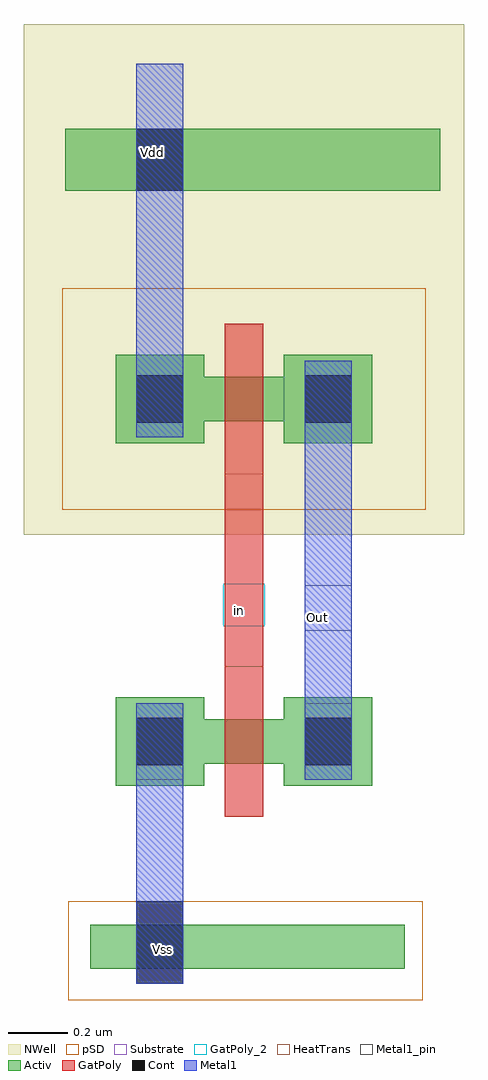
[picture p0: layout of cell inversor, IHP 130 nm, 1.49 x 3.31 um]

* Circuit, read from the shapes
.subckt inversor Out Vdd Vss in
XM1 Out in Vss Vss sg13_lv_nmos w=0.15u l=0.13u
XM2 Out in Vdd Vdd sg13_lv_pmos w=0.15u l=0.13u
.ends

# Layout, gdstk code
import gdstk
lib = gdstk.Library(unit=1e-6, precision=5e-09)
def R(c, l, rs):  # rectangles x0, y0, x1, y1
    for r in rs: c.add(gdstk.rectangle(r[:2], r[2:], *l))
def P(c, l, *ps):  # polygons
    for p in ps: c.add(gdstk.Polygon(p, *l))
Activ = (1, 0)
GatPoly = (5, 0)
GatPoly_2 = (5, 2)
Cont = (6, 0)
Metal1 = (8, 0)
Metal1_pin = (8, 2)
pSD = (14, 0)
NWell = (31, 0)
Substrate = (40, 0)
HeatTrans = (51, 0)

pmos = lib.new_cell('pmos')
R(pmos, Activ, [(0,0,0.3,0.3), (0.57,0,0.87,0.3), (0,0.075,0.87,0.225)])
R(pmos, GatPoly, [(0.37,-0.105,0.5,0.405), (0.37,-0.105,0.5,0.405)])
R(pmos, Cont, [(0.07,0.07,0.23,0.23), (0.64,0.07,0.8,0.23)])
R(pmos, Metal1, [(0.07,0.02,0.23,0.28), (0.07,0.02,0.23,0.28), (0.64,0.02,0.8,0.28), (0.64,0.02,0.8,0.28)])
R(pmos, pSD, [(-0.18,-0.225,1.05,0.525)])
R(pmos, NWell, [(-0.31,-0.31,1.18,0.61)])
R(pmos, Substrate, [(0.57,0,0.87,0.3)])
R(pmos, HeatTrans, [(0.37,-0.105,0.5,0.405)])
pmos.add(gdstk.Label('pmos', (0.435,0.15), layer=63, texttype=0))
pmos.add(gdstk.Label('pmos', (0.435,0.15), layer=51, texttype=0))

nmos = lib.new_cell('nmos')
R(nmos, Activ, [(0,0,0.3,0.3), (0.57,0,0.87,0.3), (0,0.075,0.87,0.225)])
R(nmos, GatPoly, [(0.37,-0.105,0.5,0.405)])
R(nmos, GatPoly_2, [(0.37,-0.105,0.5,0.405)])
R(nmos, Cont, [(0.07,0.07,0.23,0.23), (0.64,0.07,0.8,0.23)])
R(nmos, Metal1, [(0.07,0.02,0.23,0.28), (0.64,0.02,0.8,0.28)])
R(nmos, Metal1_pin, [(0.07,0.02,0.23,0.28), (0.64,0.02,0.8,0.28)])
R(nmos, HeatTrans, [(0.37,-0.105,0.5,0.405)])
nmos.add(gdstk.Label('nmos', (0.435,0.15), layer=63, texttype=0))
nmos.add(gdstk.Label('nmos', (0.435,0.15), layer=51, texttype=0))

inversor = lib.new_cell('inversor')
R(inversor, Activ, [(0.66,-0.23,1.725,-0.08)])
P(inversor, Activ, [(0.575,2.405),(0.575,2.615),(1.845,2.615),(1.845,2.405),(0.995,2.405)])
R(inversor, GatPoly, [(1.115,0.69,1.245,1.53)])
R(inversor, GatPoly_2, [(1.11,0.93,1.25,1.075)])
R(inversor, Cont, [(0.815,-0.28,0.975,0), (0.815,2.405,0.975,2.615)])
R(inversor, Metal1, [(0.815,-0.28,0.975,0.54), (1.385,0.54,1.545,1.735), (0.815,1.7,0.975,2.835)])
R(inversor, Metal1_pin, [(0.815,-0.23,0.975,-0.08), (1.385,0.915,1.545,1.07), (0.815,2.405,0.975,2.615)])
R(inversor, pSD, [(0.585,-0.335,1.785,0)])
R(inversor, NWell, [(0.435,2.16,1.925,2.97)])
inversor.add(gdstk.Reference(pmos, (0.745,1.55)))
inversor.add(gdstk.Reference(nmos, (0.745,0.39)))
inversor.add(gdstk.Label('Out', (1.43,0.96), layer=8, texttype=2))
inversor.add(gdstk.Label('Vss', (0.905,-0.165), layer=8, texttype=2))
inversor.add(gdstk.Label('Vdd', (0.87,2.535), layer=8, texttype=2))
inversor.add(gdstk.Label('in', (1.165,0.985), layer=5, texttype=2))

lib.write_gds('inversor.gds')
